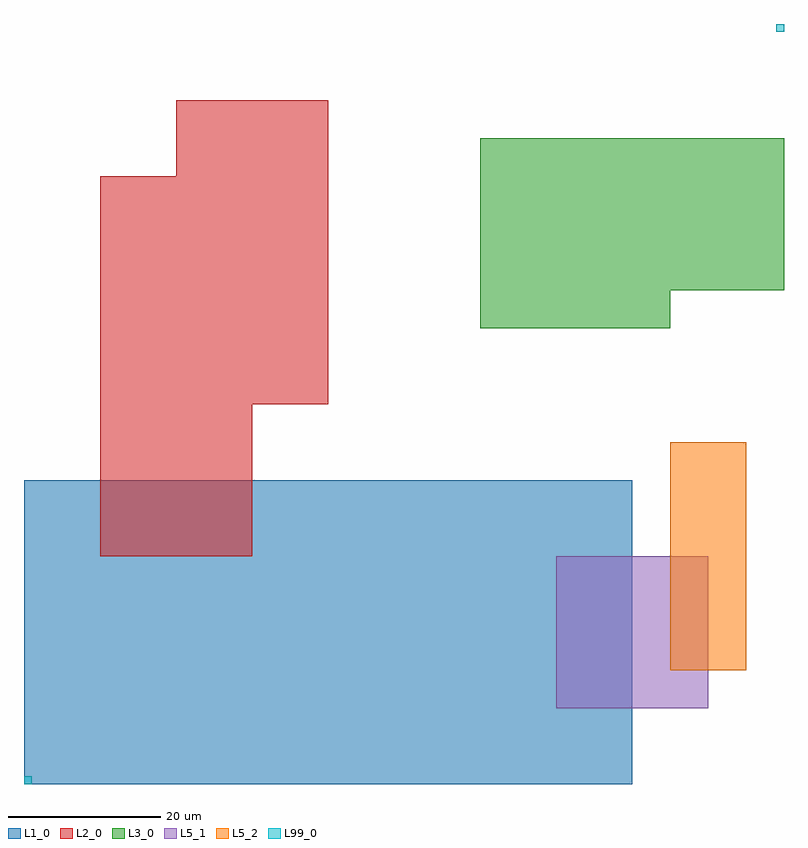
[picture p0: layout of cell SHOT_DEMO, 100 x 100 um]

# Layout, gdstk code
import gdstk
lib = gdstk.Library(unit=1e-6, precision=1e-09)
def R(c, l, rs):  # rectangles x0, y0, x1, y1
    for r in rs: c.add(gdstk.rectangle(r[:2], r[2:], *l))
L1_0 = (1, 0)
L2_0 = (2, 0)
L3_0 = (3, 0)
L5_1 = (5, 1)
L5_2 = (5, 2)
L99_0 = (99, 0)

l1_a = lib.new_cell('L1_A')
R(l1_a, L1_0, [(0,0,60,40)])

l1_b = lib.new_cell('L1_B')
R(l1_b, L1_0, [(0,0,40,40)])

l2_a = lib.new_cell('L2_A')
R(l2_a, L2_0, [(0,0,20,50)])

l2_b = lib.new_cell('L2_B')
R(l2_b, L2_0, [(0,0,20,40)])

l3_a = lib.new_cell('L3_A')
R(l3_a, L3_0, [(0,0,25,25)])

l3_b = lib.new_cell('L3_B')
R(l3_b, L3_0, [(0,0,30,20)])

l5_dt1 = lib.new_cell('L5_DT1')
R(l5_dt1, L5_1, [(0,0,20,20)])

l5_dt2 = lib.new_cell('L5_DT2')
R(l5_dt2, L5_2, [(0,0,10,30)])

bbox_markers = lib.new_cell('BBOX_MARKERS')
R(bbox_markers, L99_0, [(0,0,1,1), (99,99,100,100)])

shot_demo = lib.new_cell('SHOT_DEMO')
shot_demo.add(gdstk.Reference(l1_a, (0,0)))
shot_demo.add(gdstk.Reference(l1_b, (40,0)))
shot_demo.add(gdstk.Reference(l2_a, (10,30)))
shot_demo.add(gdstk.Reference(l2_b, (20,50)))
shot_demo.add(gdstk.Reference(l3_a, (60,60)))
shot_demo.add(gdstk.Reference(l3_b, (70,65)))
shot_demo.add(gdstk.Reference(l5_dt1, (70,10)))
shot_demo.add(gdstk.Reference(l5_dt2, (85,15)))
shot_demo.add(gdstk.Reference(bbox_markers, (0,0)))

lib.write_gds('SHOT_DEMO.gds')
